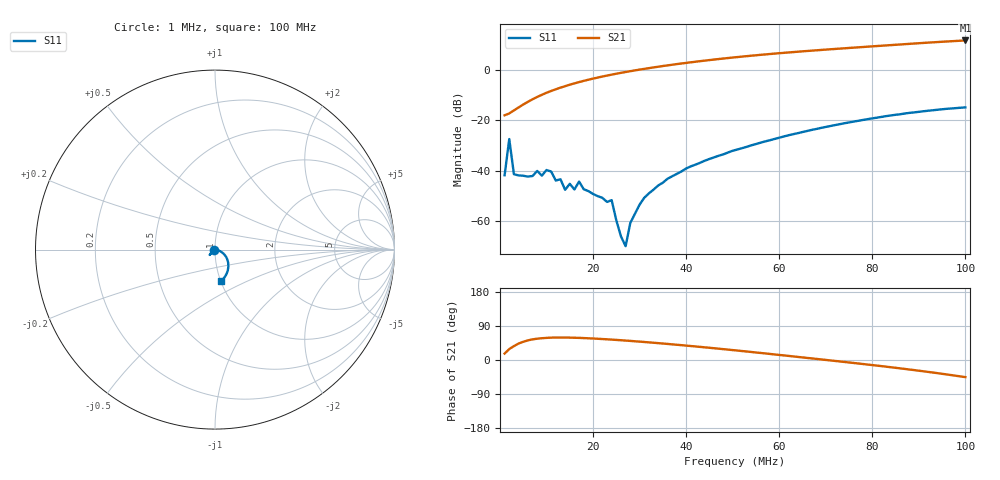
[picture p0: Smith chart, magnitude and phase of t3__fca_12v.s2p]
# HZ S RI R 50
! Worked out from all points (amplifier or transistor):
!   100 points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, 1 MHz to 100 MHz, reference 50 ohm
!   highest |S21| = 11.5 dB at 100 MHz (marker M1)
!   |S21| within 3 dB of that: 74.79 MHz to end of sweep
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1000001  -0.00809 0.000283  0.1191 0.0364  0 0  0 0
2000001  -0.0296 -0.0299  0.1186 0.0655  0 0  0 0
3000001  -0.00848 -8.4e-05  0.1247 0.0927  0 0  0 0
9000001  -0.00734 0.00303  0.1701 0.267  0 0  0 0
1e7  -0.0092 0.00456  0.1826 0.2959  0 0  0 0
1.3e7  -0.00668 -0.000938  0.2238 0.3772  0 0  0 0
1.4e7  -0.00417 -8.61e-05  0.2401 0.4035  0 0  0 0
1.5e7  -0.00543 0.000688  0.2581 0.4304  0 0  0 0
1.6e7  -0.00417 0.000685  0.2769 0.4554  0 0  0 0
1.7e7  -0.00598 -0.000983  0.2965 0.4814  0 0  0 0
1.8e7  -0.00428 0.000109  0.318 0.5062  0 0  0 0
2.4e7  -0.00257 0.000408  0.4693 0.6414  0 0  0 0
2.6e7  -0.00047 -0.000161  0.5286 0.6803  0 0  0 0
2.7e7  2.9e-05 -0.000318  0.56 0.6983  0 0  0 0
2.8e7  0.000691 -0.0006  0.5928 0.7154  0 0  0 0
3e7  0.00204 -0.000565  0.6615 0.7476  0 0  0 0
3.4e7  0.00498 -0.000987  0.8125 0.7985  0 0  0 0
5.1e7  0.025 -0.00757  1.604 0.7451  0 0  0 0
6.7e7  0.0556 -0.0317  2.365 0.1727  0 0  0 0
8.4e7  0.074 -0.0992  2.884 -1  0 0  0 0
9.3e7  0.0588 -0.1451  2.903 -1.89  0 0  0 0
1e8  0.0311 -0.1759  2.656 -2.679  0 0  0 0
